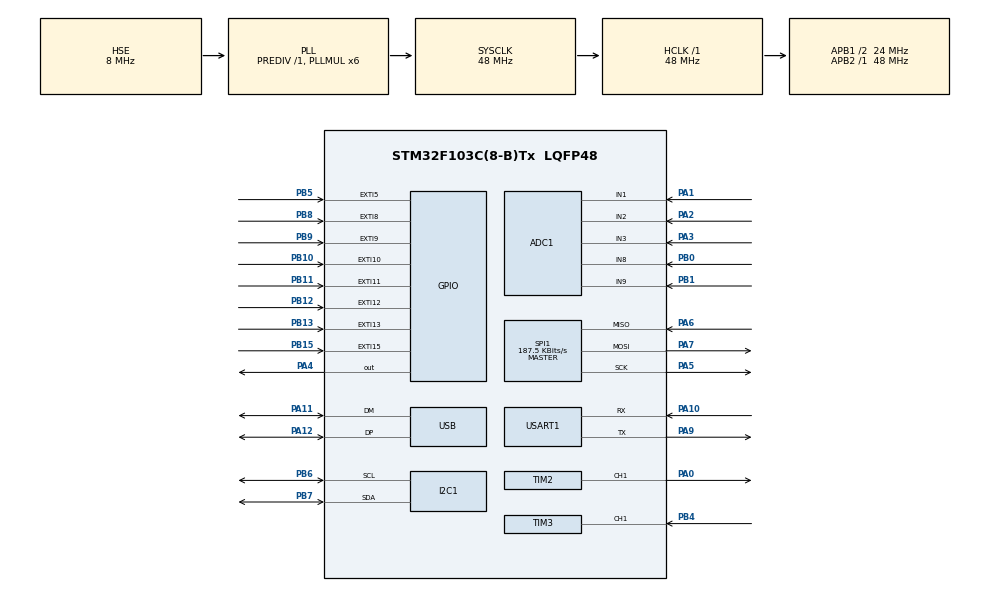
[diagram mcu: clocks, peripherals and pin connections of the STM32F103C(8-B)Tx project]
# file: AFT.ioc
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ADC1.Channel-10\#ChannelRegularConversion=ADC_CHANNEL_1
ADC1.Channel-11\#ChannelRegularConversion=ADC_CHANNEL_2
ADC1.Channel-12\#ChannelRegularConversion=ADC_CHANNEL_3
ADC1.Channel-13\#ChannelRegularConversion=ADC_CHANNEL_8
ADC1.Channel-14\#ChannelRegularConversion=ADC_CHANNEL_9
ADC1.ContinuousConvMode=ENABLE
ADC1.EnableRegularConversion=ENABLE
ADC1.NbrOfConversion=5
ADC1.NbrOfConversionFlag=1
ADC1.Rank-10\#ChannelRegularConversion=1
ADC1.Rank-11\#ChannelRegularConversion=2
ADC1.Rank-12\#ChannelRegularConversion=3
ADC1.Rank-13\#ChannelRegularConversion=4
ADC1.Rank-14\#ChannelRegularConversion=5
ADC1.SamplingTime-10\#ChannelRegularConversion=ADC_SAMPLETIME_239CYCLES_5
ADC1.SamplingTime-11\#ChannelRegularConversion=ADC_SAMPLETIME_239CYCLES_5
ADC1.SamplingTime-12\#ChannelRegularConversion=ADC_SAMPLETIME_239CYCLES_5
ADC1.SamplingTime-13\#ChannelRegularConversion=ADC_SAMPLETIME_239CYCLES_5
ADC1.SamplingTime-14\#ChannelRegularConversion=ADC_SAMPLETIME_239CYCLES_5
ADC1.master=1
Dma.ADC1.0.Direction=DMA_PERIPH_TO_MEMORY
Dma.ADC1.0.Instance=DMA1_Channel1
Dma.ADC1.0.MemDataAlignment=DMA_MDATAALIGN_HALFWORD
Dma.ADC1.0.MemInc=DMA_MINC_ENABLE
Dma.ADC1.0.Mode=DMA_CIRCULAR
Dma.ADC1.0.PeriphDataAlignment=DMA_PDATAALIGN_HALFWORD
Dma.ADC1.0.PeriphInc=DMA_PINC_DISABLE
Dma.ADC1.0.Priority=DMA_PRIORITY_MEDIUM
Dma.I2C1_RX.1.Direction=DMA_PERIPH_TO_MEMORY
Dma.I2C1_RX.1.Instance=DMA1_Channel7
Dma.I2C1_RX.1.MemDataAlignment=DMA_MDATAALIGN_BYTE
Dma.I2C1_RX.1.MemInc=DMA_MINC_ENABLE
Dma.I2C1_RX.1.Mode=DMA_NORMAL
Dma.I2C1_RX.1.PeriphDataAlignment=DMA_PDATAALIGN_BYTE
Dma.I2C1_RX.1.PeriphInc=DMA_PINC_DISABLE
Dma.I2C1_RX.1.Priority=DMA_PRIORITY_MEDIUM
Dma.I2C1_TX.2.Direction=DMA_MEMORY_TO_PERIPH
Dma.I2C1_TX.2.Instance=DMA1_Channel6
Dma.I2C1_TX.2.MemDataAlignment=DMA_MDATAALIGN_BYTE
Dma.I2C1_TX.2.MemInc=DMA_MINC_ENABLE
Dma.I2C1_TX.2.Mode=DMA_NORMAL
Dma.I2C1_TX.2.PeriphDataAlignment=DMA_PDATAALIGN_BYTE
Dma.I2C1_TX.2.PeriphInc=DMA_PINC_DISABLE
Dma.I2C1_TX.2.Priority=DMA_PRIORITY_MEDIUM
Dma.Request0=ADC1
Dma.Request1=I2C1_RX
Dma.Request2=I2C1_TX
Mcu.Family=STM32F1
Mcu.Name=STM32F103C(8-B)Tx
Mcu.Package=LQFP48
NVIC.ADC1_2_IRQn=true\:0\:0\:false\:false\:true\:true\:true\:true
NVIC.DMA1_Channel1_IRQn=true\:0\:0\:false\:false\:true\:false\:true\:true
NVIC.DMA1_Channel6_IRQn=true\:0\:0\:false\:false\:true\:false\:true\:true
NVIC.DMA1_Channel7_IRQn=true\:0\:0\:false\:false\:true\:false\:true\:true
NVIC.EXTI15_10_IRQn=true\:0\:0\:false\:false\:true\:true\:true\:true
NVIC.EXTI9_5_IRQn=true\:0\:0\:false\:false\:true\:true\:true\:true
NVIC.PriorityGroup=NVIC_PRIORITYGROUP_4
NVIC.SPI1_IRQn=true\:0\:0\:false\:false\:true\:true\:true\:true
NVIC.TIM1_UP_IRQn=true\:15\:0\:false\:false\:true\:false\:true\:true
NVIC.TIM2_IRQn=true\:0\:0\:false\:false\:true\:true\:true\:true
NVIC.TIM3_IRQn=true\:0\:0\:false\:false\:true\:true\:true\:true
NVIC.TimeBase=TIM1_UP_IRQn
NVIC.TimeBaseIP=TIM1
NVIC.USART1_IRQn=true\:0\:0\:false\:false\:true\:true\:true\:true
NVIC.USB_LP_CAN1_RX0_IRQn=true\:0\:0\:false\:false\:true\:false\:true\:true
PA0-WKUP.Signal=S_TIM2_CH1_ETR
PA1.Signal=ADCx_IN1
PA10.GPIO_Mode=GPIO_MODE_INPUT
PA10.GPIO_PuPd=GPIO_NOPULL
PA10.Mode=Asynchronous
PA10.Signal=USART1_RX
PA11.Mode=Device
PA11.Signal=USB_DM
PA12.Mode=Device
PA12.Signal=USB_DP
PA13.Mode=Serial_Wire
PA13.Signal=SYS_JTMS-SWDIO
PA14.Mode=Serial_Wire
PA14.Signal=SYS_JTCK-SWCLK
PA2.Signal=ADCx_IN2
PA3.Signal=ADCx_IN3
PA4.Signal=GPIO_Output
PA5.Mode=Full_Duplex_Master
PA5.Signal=SPI1_SCK
PA6.Mode=Full_Duplex_Master
PA6.Signal=SPI1_MISO
PA7.Mode=Full_Duplex_Master
PA7.Signal=SPI1_MOSI
PA9.Mode=Asynchronous
PA9.Signal=USART1_TX
PB0.Signal=ADCx_IN8
PB1.Signal=ADCx_IN9
PB10.GPIO_ModeDefaultEXTI=GPIO_MODE_IT_FALLING
PB10.Signal=GPXTI10
PB11.GPIO_ModeDefaultEXTI=GPIO_MODE_IT_FALLING
PB11.Signal=GPXTI11
PB12.GPIO_ModeDefaultEXTI=GPIO_MODE_IT_FALLING
PB12.Signal=GPXTI12
PB13.GPIO_ModeDefaultEXTI=GPIO_MODE_IT_FALLING
PB13.Signal=GPXTI13
PB15.GPIO_ModeDefaultEXTI=GPIO_MODE_IT_RISING
PB15.GPIO_PuPd=GPIO_PULLDOWN
PB15.Signal=GPXTI15
PB4.Signal=S_TIM3_CH1
PB5.GPIO_ModeDefaultEXTI=GPIO_MODE_IT_FALLING
PB5.Signal=GPXTI5
PB6.Mode=I2C
PB6.Signal=I2C1_SCL
PB7.Mode=I2C
PB7.Signal=I2C1_SDA
PB8.Signal=GPXTI8
PB9.GPIO_ModeDefaultEXTI=GPIO_MODE_IT_FALLING
PB9.Signal=GPXTI9
PD0-OSC_IN.Mode=HSE-External-Oscillator
PD0-OSC_IN.Signal=RCC_OSC_IN
PD1-OSC_OUT.Mode=HSE-External-Oscillator
PD1-OSC_OUT.Signal=RCC_OSC_OUT
ProjectManager.HeapSize=0x200
ProjectManager.StackSize=0x400
ProjectManager.TargetToolchain=CMake
RCC.ADCPresc=RCC_ADCPCLK2_DIV4
RCC.AHBFreq_Value=48000000
RCC.APB1CLKDivider=RCC_HCLK_DIV2
RCC.APB1Freq_Value=24000000
RCC.APB1TimFreq_Value=48000000
RCC.APB2Freq_Value=48000000
RCC.APB2TimFreq_Value=48000000
RCC.HCLKFreq_Value=48000000
RCC.HSE_Timout=1000
RCC.PLLMUL=RCC_PLL_MUL6
RCC.SYSCLKFreq_VALUE=48000000
RCC.SYSCLKSource=RCC_SYSCLKSOURCE_PLLCLK
RCC.USBFreq_Value=48000000
SH.ADCx_IN1.0=ADC1_IN1,IN1
SH.ADCx_IN2.0=ADC1_IN2,IN2
SH.ADCx_IN3.0=ADC1_IN3,IN3
SH.ADCx_IN8.0=ADC1_IN8,IN8
SH.ADCx_IN9.0=ADC1_IN9,IN9
SH.S_TIM2_CH1_ETR.0=TIM2_CH1,PWM Generation1 CH1
SH.S_TIM3_CH1.0=TIM3_CH1,Input_Capture1_from_TI1
SPI1.BaudRatePrescaler=SPI_BAUDRATEPRESCALER_256
SPI1.CRCCalculation=SPI_CRCCALCULATION_DISABLE
SPI1.CalculateBaudRate=187.5 KBits/s
SPI1.Direction=SPI_DIRECTION_2LINES
SPI1.Mode=SPI_MODE_MASTER
SPI1.VirtualType=VM_MASTER
TIM2.AutoReloadPreload=TIM_AUTORELOAD_PRELOAD_ENABLE
TIM2.Channel-PWM\ Generation1\ CH1=TIM_CHANNEL_1
TIM2.CounterMode=TIM_COUNTERMODE_UP
TIM2.OCFastMode_PWM-PWM\ Generation1\ CH1=TIM_OCFAST_ENABLE
TIM2.Period=1999
TIM2.Prescaler=47
TIM3.AutoReloadPreload=TIM_AUTORELOAD_PRELOAD_DISABLE
TIM3.Channel-Input_Capture1_from_TI1=TIM_CHANNEL_1
TIM3.ClockDivision=TIM_CLOCKDIVISION_DIV1
TIM3.ICFilter_CH1=15
TIM3.ICPolarity_CH1=TIM_INPUTCHANNELPOLARITY_RISING
TIM3.ICPrescaler-Input_Capture1_from_TI1=TIM_ICPSC_DIV1
TIM3.Period=65000
TIM3.Prescaler=479
TIM4.AutoReloadPreload=TIM_AUTORELOAD_PRELOAD_ENABLE
TIM4.Prescaler=47
USART1.VirtualMode=VM_ASYNC
USB.low_power_enable=DISABLE
USB_DEVICE.CLASS_NAME_FS=CDC
USB_DEVICE.USBD_DEBUG_LEVEL=3
USB_DEVICE.VirtualMode=Cdc
USB_DEVICE.VirtualModeFS=Cdc_FS
VP_FATFS_VS_Generic.Mode=User_defined
VP_RTC_VS_RTC_Activate.Mode=RTC_Enabled
VP_SYS_VS_tim1.Mode=TIM1
VP_TIM2_VS_ClockSourceINT.Mode=Internal
VP_TIM3_VS_ClockSourceITR.Mode=TriggerSource_ITR0
VP_TIM4_VS_ClockSourceINT.Mode=Internal
VP_USB_DEVICE_VS_USB_DEVICE_CDC_FS.Mode=CDC_FS
board=custom

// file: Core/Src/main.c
/* USER CODE BEGIN Header */
/**
  ******************************************************************************
  * @file           : main.c
  * @brief          : Main program body
  ******************************************************************************
  * @attention
  *
  * Copyright (c) 2025 STMicroelectronics.
  * All rights reserved.
  *
  * This software is licensed under terms that can be found in the LICENSE file
  * in the root directory of this software component.
  * If no LICENSE file comes with this software, it is provided AS-IS.
  *
  ******************************************************************************
  */
/* USER CODE END Header */
#include "main.h"
#include "adc.h"
#include "dma.h"
#include "fatfs.h"
#include "i2c.h"
#include "rtc.h"
#include "spi.h"
#include "tim.h"
#include "usart.h"
#include "usb_device.h"
#include "gpio.h"

/* USER CODE BEGIN Includes */
#include <stdbool.h>
#include "user.h"
#include <I2C_2.h>
#include <math.h>
#include <string.h>
#include <usbd_cdc_if.h>
#include "Data_Packets.h"
#include "bme68x.h"
#include "bme68x_defs.h"
//#include <sdcard.h>
//#include "ff.h"
//#include <user_diskio.h>

//#include <ADC_Scan.h>
/* USER CODE END Includes */

/* USER CODE BEGIN PD */
  #define DEADBAND              2
  #define ADC_MAX               4095
  #define MAX_THRUST_LOSS       200
  #define CHANNEL_COUNT         5
  #define OVERSAMPLE_COUNT      16
  #define DMA_BUFFER_SIZE    (CHANNEL_COUNT * OVERSAMPLE_COUNT)
  #define MODE_UI               1
  #define MODE_INTERNAL         2
  #define UI_NONE               0
  #define UI_TEST_MODE          1
  #define UI_CALIBRATE          2
  #define UI_MANUAL_MODE        3
  #define UI_ONBOARD_MODE       4
  #define UI_IDLE_MODE          5
  #define LCD_DISPLAY_VALUES    1
  #define LCD_CHANGE_S_NUM      2
  #define LCD_CHANGE_C_STEADY   3
  #define LCD_CHANGE_C_BURST    4
  #define LCD_CHANGE_LC_THRUST  5
  #define LCD_CHANGE_LC_TORQUE  6
  #define LCD_CONFIRM_SCREEN    7
  #define LCD_SAVE_TO_SD_CARD   8
  #define MAX_NUMBER_OF_CELLS   13
  #define THRUST          (GPIOA), (GPIO_PIN_1)
  #define TORQUE          (GPIOA), (GPIO_PIN_2)
  #define V_BAT           (GPIOA), (GPIO_PIN_3)
  #define CSS             (GPIOA), (GPIO_PIN_4)
  #define SCK             (GPIOA), (GPIO_PIN_5)
  #define MISO            (GPIOA), (GPIO_PIN_6)
  #define MOSI            (GPIOA), (GPIO_PIN_7)
  #define USART_CLK       (GPIOA), (GPIO_PIN_8)
  #define USART_TX        (GPIOA), (GPIO_PIN_9)
  #define USART_RX        (GPIOA), (GPIO_PIN_10)
  #define DF_N            (GPIOA), (GPIO_PIN_11)
  #define DF_P            (GPIOA), (GPIO_PIN_12)
  #define JTMS            (GPIOA), (GPIO_PIN_13)
  #define JTCK            (GPIOA), (GPIO_PIN_14)
  #define JTDI            (GPIOA), (GPIO_PIN_15)
  #define CURRENT_SENSOR  (GPIOB), (GPIO_PIN_0)
  #define POTENTIOMETER   (GPIOB), (GPIO_PIN_1)
  #define BOOT            (GPIOB), (GPIO_PIN_2)
  #define JTDO            (GPIOB), (GPIO_PIN_3)
  #define NJTRST          (GPIOB), (GPIO_PIN_4)
  #define BUTTON3         GPIO_PIN_5
  #define SDA             (GPIOB), (GPIO_PIN_6)
  #define SCL             (GPIOB), (GPIO_PIN_7)
  #define BUTTON5         GPIO_PIN_8
  #define BUTTON6         GPIO_PIN_9
  #define BUTTON7         GPIO_PIN_10
  #define BUTTON4         GPIO_PIN_11
  #define BUTTON1         GPIO_PIN_12
  #define BUTTON2         GPIO_PIN_13
  #define IR_SENS         GPIO_PIN_15

/* USER CODE END PD */

/* USER CODE BEGIN PV */
  Information_Package_STR Information_Package;
  Telemetry_Package_STR Telemetry_Package;
  uint16_t ADC_Values[5] = {0,0,0,0,0};
  uint32_t Cal_Int[5]   = {0,0,0,0,0};

  float Voltage=0;
  float Current_S=0;
  float Thrust=0;
  float Torque=0;
  float Diff_V1;

  volatile bool BUTTON_1 = false;
  bool Plus=false;
  bool Minus=false;
  bool OK=false;
  bool Abort=false;
  volatile bool LCD_Clear_Flag=false;
  volatile bool ARM=false;
  volatile bool Com_Method;

  int8_t  SD_ERROR_CODE;
  uint8_t Last_Throttle_Value;
  uint16_t filtered_adc[5];
  uint16_t last_value[5] = {0,0,0,0,0};
  uint16_t filtered_value[5]= {0,0,0,0,0};
  uint16_t ADC_Offset_Thrust;
  uint16_t ADC_Offset_Torque;
  uint16_t ADC_Offset_Current=2035;
  uint16_t ADC_Offset_Voltage;

  uint64_t period_counts = 0;
  uint32_t Capture_Buffer[10];
  uint8_t capture_done = 0;

void HAL_TIM_IC_CaptureCallback(TIM_HandleTypeDef *htim);

  volatile uint8_t  Onboard_States=0;
  volatile uint8_t  UI_States = 0;
  volatile uint8_t  Current_State=0;
  volatile uint32_t pulse_count = 0;
  double rpm = 0;
  //volatile bool dataReceivedFlag = false;
/* USER CODE END PV */

void SystemClock_Config(void);
/* USER CODE BEGIN PFP */
//void HAL_UART_RxCpltCallback(USART_HandleTypeDef *huart);

  float Convert_ADC_Thrust();
  float Convert_ADC_Battery();
  float Convert_ADC_Current();
  double Calculate_RPM();

  void Convert_ADC_Torque();
  void Internal_Mode();
  void UI_Mode();
  void ADC_DeadBand_Filter();
  void Display_LCD_Values();
  void Safety_Check();
  void Define_States_UI();
  void Change_S_Num();
  void Change_C_Steady();
  void Change_C_Burst();
  void Change_LC_Thrust();
  void Change_LC_Torque();
  void Save_Log();
  void split_double(double value, int16_t *int_part, uint16_t *frac_part, int precision);
  void Test_Mode();
  void Manual_Mode();
  void Calibrate();
  void Transmit_Data();
  void Gather_Information();
  void Idle_State();
  void Initialize_BME680();
  int8_t user_i2c_read(uint8_t dev_id, uint8_t reg_addr, uint8_t *data, uint16_t len);
  int8_t user_i2c_write(uint8_t dev_id, const uint8_t *data, uint16_t len);
  void user_delay_us(uint32_t period, void *intf_ptr);
/* USER CODE END PFP */

int main(void)
{

  /* MCU Configuration--------------------------------------------------------*/

  /* Reset of all peripherals, Initializes the Flash interface and the Systick. */
   HAL_Init();

  /* Configure the system clock */
  SystemClock_Config();

  /* Initialize all configured peripherals */
  MX_GPIO_Init();
  MX_DMA_Init();
  MX_I2C1_Init();
  MX_RTC_Init();
  MX_SPI1_Init();
  MX_USART1_UART_Init();
  MX_TIM2_Init();
  MX_USB_DEVICE_Init();
  MX_ADC1_Init();
  MX_FATFS_Init();
  MX_TIM3_Init();
  MX_TIM4_Init();
  /* USER CODE BEGIN 2 */
  HAL_ADCEx_Calibration_Start(&hadc1);
  HAL_ADC_Start_DMA(&hadc1,(uint32_t *)&ADC_Values,5);
  HAL_TIM_PWM_Start(&htim2, TIM_CHANNEL_1);
  HAL_NVIC_SetPriority(EXTI15_10_IRQn, 2, 0);
  HAL_NVIC_EnableIRQ(EXTI15_10_IRQn);
  ADC_DeadBand_Filter();
  Calibrate();
  LCD_Init(&hi2c1);
  LCD_Clear();
  HAL_UART_Receive_IT(&huart1, (uint8_t *)&Information_Package, sizeof(Information_Package_STR));
  Current_State=1;
  HAL_Delay(50);
  ADC_DeadBand_Filter();
  HAL_TIM_IC_Start_IT(&htim3, TIM_CHANNEL_1);
  __HAL_TIM_SetCompare(&htim2, TIM_CHANNEL_1, 1000);
  Initialize_BME680();
  /* USER CODE END 2 */

  /* Infinite loop */
  /* USER CODE BEGIN WHILE */
  while(1)
  {

    //rpm = Calculate_RPM();
    switch (Current_State)
    {
      case MODE_INTERNAL:
        Internal_Mode();
        break;
      case MODE_UI:
        UI_Mode();
        break;
      default:
        Error_Handler();
        break;
    }
    /* USER CODE END WHILE */

  }
}

void SystemClock_Config(void)
{
  RCC_OscInitTypeDef RCC_OscInitStruct = {0};
  RCC_ClkInitTypeDef RCC_ClkInitStruct = {0};
  RCC_PeriphCLKInitTypeDef PeriphClkInit = {0};

  /** Initializes the RCC Oscillators according to the specified parameters
  * in the RCC_OscInitTypeDef structure.
  */
  RCC_OscInitStruct.OscillatorType = RCC_OSCILLATORTYPE_LSI|RCC_OSCILLATORTYPE_HSE;
  RCC_OscInitStruct.HSEState = RCC_HSE_ON;
  RCC_OscInitStruct.HSEPredivValue = RCC_HSE_PREDIV_DIV1;
  RCC_OscInitStruct.HSIState = RCC_HSI_ON;
  RCC_OscInitStruct.LSIState = RCC_LSI_ON;
  RCC_OscInitStruct.PLL.PLLState = RCC_PLL_ON;
  RCC_OscInitStruct.PLL.PLLSource = RCC_PLLSOURCE_HSE;
  RCC_OscInitStruct.PLL.PLLMUL = RCC_PLL_MUL6;
  if (HAL_RCC_OscConfig(&RCC_OscInitStruct) != HAL_OK)
  {
    Error_Handler();
  }

  /** Initializes the CPU, AHB and APB buses clocks
  */
  RCC_ClkInitStruct.ClockType = RCC_CLOCKTYPE_HCLK|RCC_CLOCKTYPE_SYSCLK
                              |RCC_CLOCKTYPE_PCLK1|RCC_CLOCKTYPE_PCLK2;
  RCC_ClkInitStruct.SYSCLKSource = RCC_SYSCLKSOURCE_PLLCLK;
  RCC_ClkInitStruct.AHBCLKDivider = RCC_SYSCLK_DIV1;
  RCC_ClkInitStruct.APB1CLKDivider = RCC_HCLK_DIV2;
  RCC_ClkInitStruct.APB2CLKDivider = RCC_HCLK_DIV1;

  if (HAL_RCC_ClockConfig(&RCC_ClkInitStruct, FLASH_LATENCY_1) != HAL_OK)
  {
    Error_Handler();
  }
  PeriphClkInit.PeriphClockSelection = RCC_PERIPHCLK_RTC|RCC_PERIPHCLK_ADC
                              |RCC_PERIPHCLK_USB;
  PeriphClkInit.RTCClockSelection = RCC_RTCCLKSOURCE_LSI;
  PeriphClkInit.AdcClockSelection = RCC_ADCPCLK2_DIV4;
  PeriphClkInit.UsbClockSelection = RCC_USBCLKSOURCE_PLL;
  if (HAL_RCCEx_PeriphCLKConfig(&PeriphClkInit) != HAL_OK)
  {
    Error_Handler();
  }
}

/* USER CODE BEGIN 4 */
    /**
     * @brief This function will be enabled when the `Information_Package.Arm_Check` and the `Information_Package.Start_Test` flags are both true.
     *  Uses conversion functions to convert `values_adc` into the desired characteristics
     * @note This resets the `Information_Package.Start_Test` flag when it finishes
    */
    void Test_Mode()
    {
      if(Com_Method==false)
      { for(int i=0;i<=1000;i++)
        {
        if(Abort==true)
        {
          __HAL_TIM_SET_COMPARE(&htim2, TIM_CHANNEL_1, 1000);
          Abort=false;
          Information_Package.Start_Test =0;
          Current_State=0;
          break;
        }
        ADC_DeadBand_Filter();
        __HAL_TIM_SET_COMPARE(&htim2, TIM_CHANNEL_1, i+999);
        Voltage = Convert_ADC_Battery();
        split_double(Voltage,&Telemetry_Package.Voltage_I,&Telemetry_Package.Voltage_F,2);
        Current_S = Convert_ADC_Current();
        split_double(Current_S,&Telemetry_Package.Current_I,&Telemetry_Package.Current_F,2);
        Thrust    = Convert_ADC_Thrust();
        split_double(Thrust, &Telemetry_Package.Thrust_I,&Telemetry_Package.Thrust_F,3);
        Convert_ADC_Torque();
        split_double(Torque, &Telemetry_Package.Torque_I,&Telemetry_Package.Torque_F,3);
        rpm= Calculate_RPM();
        split_double(rpm, &Telemetry_Package.RPM_I, &Telemetry_Package.RPM_F, 2);
        if(i%10==0)Telemetry_Package.Throttle=i/10;
        Telemetry_Package.PWM_Time = i+1000;
        Safety_Check();
        HAL_Delay(10);
        Transmit_Data();
        }
      }
      if(Com_Method==true)
      {
      for(int i=0;i<=1000;i+=10)
      {
        if(Abort==true)
        {
          Abort=false;
          __HAL_TIM_SET_COMPARE(&htim2, TIM_CHANNEL_1, 1000);
          Information_Package.Start_Test =0;
          Current_State=0;
          break;
        }
        ADC_DeadBand_Filter();
        __HAL_TIM_SET_COMPARE(&htim2, TIM_CHANNEL_1, i+999);
        Voltage = Convert_ADC_Battery();
        split_double(Voltage,&Telemetry_Package.Voltage_I,&Telemetry_Package.Voltage_F,2);
        Current_S = Convert_ADC_Current();
        split_double(Current_S,&Telemetry_Package.Current_I,&Telemetry_Package.Current_F,2);
        Thrust    = Convert_ADC_Thrust();
        split_double(Thrust, &Telemetry_Package.Thrust_I,&Telemetry_Package.Thrust_F,3);
        Convert_ADC_Torque();
        split_double(Torque, &Telemetry_Package.Torque_I,&Telemetry_Package.Torque_F,3);
        if(i%10==0)Telemetry_Package.Throttle=i/10;
        Telemetry_Package.PWM_Time = i+1000;
        Safety_Check();
        HAL_Delay(100);
        Transmit_Data();
      }
    }
        Telemetry_Package.Error_Code     = 0;
        Information_Package.Start_Test = 0;
        Current_State = 1;
        UI_States = 0;
        __HAL_TIM_SET_COMPARE(&htim2, TIM_CHANNEL_1, 0);
}
void Manual_Mode()
{
  __HAL_TIM_SET_COMPARE(&htim2, TIM_CHANNEL_1, Information_Package.Throttle*10);
  if(!(Information_Package.Throttle==Last_Throttle_Value))
  {
      Telemetry_Package.Throttle=Information_Package.Throttle;
        ADC_DeadBand_Filter();
        Voltage = Convert_ADC_Battery();
        split_double(Voltage,&Telemetry_Package.Voltage_I,&Telemetry_Package.Voltage_F,2);
        Current_S = Convert_ADC_Current();
        split_double(Current_S,&Telemetry_Package.Current_I,&Telemetry_Package.Current_F,2);
        Thrust    = Convert_ADC_Thrust();
        split_double(Thrust, &Telemetry_Package.Thrust_I,&Telemetry_Package.Thrust_F,3);
        Convert_ADC_Torque();
        split_double(Torque, &Telemetry_Package.Torque_I,&Telemetry_Package.Torque_F,3);
        rpm= Calculate_RPM();
        split_double(rpm, &Telemetry_Package.RPM_I, &Telemetry_Package.RPM_F, 2);
      Transmit_Data();
      Last_Throttle_Value=Information_Package.Throttle;
      HAL_Delay(50);
  }
}

  /**
   * @brief This function splits a `Float` into its `Integer` and `Fractional` parts to be sent as `uint16_t` values inside the `Telemetry_Package_STR`
   *
   * @param value
   * @param int_part
   * @param frac_part
   * @param precision
   */
  void split_double(double value, int16_t *int_part, uint16_t *frac_part, int precision)
  {
      *int_part = abs((int)value);
      double frac = value - *int_part;
      *frac_part = abs((int)(roundf(frac * powf(10, precision))));
  }

  /**
   * @brief Math for measuring the voltage via the onboard divider, measured resistances with multimeter 99000, 6210 Ohm respectively
   *
   * @return float `Voltage`
   */
  float Convert_ADC_Battery()
  {
    float Voltage;
    Voltage=(((float)filtered_value[2] / ADC_MAX) * 3.3)*16.9491;
    return Voltage;
  }
  /**
   * @brief  Math for converting the current sensor voltage output into current
   *
   * @return float
   */
  float Convert_ADC_Current()
  {
    float Current;
    float Voltage;
    Voltage= (filtered_value[3])-ADC_Offset_Current;
    Current = ((Voltage)/ADC_MAX)*200;
    if(Current<0)
    return 0;
    else
    return Current;
  }
  /**
   * @brief Math for converting the load cell voltage output into thrust in KG
   *
   * @return float
   */
  float Convert_ADC_Thrust()
  {
    float Thrust;
    Thrust   = 0.335*((float)filtered_value[1]-(float)ADC_Offset_Thrust);
    //Thrust = 0.933*((float)(filtered_value[1]-700)/ADC_MAX*3.3);
    return Thrust/1000;
  }
  /**
   * @brief Deadband filter for the ADCs, slightly aleviates their swing
   *
   */
  void ADC_DeadBand_Filter()
  {
      for (int i = 0; i < 5; i++)
      {
          uint16_t new_value = ADC_Values[i];

          if (abs((int)new_value - (int)last_value[i]) > DEADBAND)
          {
              filtered_value[i] = new_value;
              last_value[i] = new_value;
          }
          // else: keep previous filtered_value[i]
      }
  }
    /**
     * @brief Math for converting the lswitch (Com_Method)oad cell voltage output into Nm
     *
     * @return float
     */
    void Convert_ADC_Torque()
    {
    Torque = 0.8653846*((float)filtered_value[0]-(float)ADC_Offset_Torque);
    //Torque = 0.8653846f*(float)filtered_adc[0] - 1471.1538f;
    }
  /**
   * @brief Zeros out the ADC values and therfore the outputs, called everytime a test cycle is started
   *
   * @return * void
   */
  void Calibrate()
  {
      __HAL_TIM_SET_COMPARE(&htim2, TIM_CHANNEL_1, 2000);
      HAL_Delay(5000);
      __HAL_TIM_SET_COMPARE(&htim2, TIM_CHANNEL_1, 1000);
      ADC_DeadBand_Filter();
      ADC_Offset_Thrust  = ADC_Values[1];
      ADC_Offset_Torque  = ADC_Values[0];
      memset(&Telemetry_Package, 0, sizeof(Telemetry_Package));
      Information_Package.Calibration=0;
      Current_State=1;
      UI_States=0;
      HAL_Delay(1000);
      Transmit_Data();
  }
  /**
   * @brief Checks to see if the device operates under safe conditions every test cycle iteration
   * @note Limits the device to ESC maximum ratings,Minimum battery voltage as inputed from either the UI or onboard HDI
   * @note A battery is considered spent at a cell voltage of `3V`
   * @note If the device is not operating under safe conditions, it sets the `Telemetry_Package.Error_Code` to `1` or `2` and sets the `Abort` flag to true
   */
  void Safety_Check()
  {
        if(Voltage <= Information_Package.S_Num*3)
        {
          Telemetry_Package.Error_Code=1;
          Abort=true;
        }
        if(Current_S > Information_Package.Current_Limit_Steady)
        {
          Telemetry_Package.Error_Code=2;
          Abort=true;
        }
        if(Information_Package.Panic_Abort)
        {
          Abort=true;
        }
  }
  /**
   * @brief Defines the state machine when operating in UI mode
   *
  */
  void Define_States_UI()
  {
      if(Information_Package.Arm_Check==1 && Information_Package.Start_Test==1)   UI_States = UI_TEST_MODE;
      if(Information_Package.Calibration==1 && Information_Package.Arm_Check==1 ) UI_States = UI_CALIBRATE;
      if(Information_Package.Arm_Check==1 && Information_Package.Manual_Check==1) UI_States = UI_MANUAL_MODE;
  }

  /**
   * @brief Calback function for the buttons, executes action based on pressed button
   *
   * @param GPIO_Pin
   */
  void HAL_GPIO_EXTI_Callback(uint16_t GPIO_Pin)
  {
        if(GPIO_Pin == BUTTON1)
    {
        if(Onboard_States<9)
        Onboard_States++;
        LCD_Clear_Flag=true;
    }
        if(GPIO_Pin == BUTTON2)
    {
       if(Onboard_States>0)
      {
        Onboard_States--;
        LCD_Clear_Flag=true;
      }
    }
        if(GPIO_Pin == BUTTON3)
    {
        Plus=true;
    }
        if(GPIO_Pin == BUTTON4)
    {
        OK=true;
    }
        if(GPIO_Pin == BUTTON5)
    {
        Minus=true;
    }
        if(GPIO_Pin == BUTTON6)
    {

    }
        if(GPIO_Pin == BUTTON7)
    {
        ARM=!ARM;
        LCD_Clear_Flag=true;
    }
  }

  /**
   *  @brief In HDI mode, state `LCD_DISPLAY_VALUES` Displays the 4 main values outputed from `TEST_MODE()`
   *  @note `Voltage`
   *  @note `Current`
   *  @note `Thrust`
   *  @note `Torque`
   */
  void Display_LCD_Values()
  {
    if(LCD_Clear_Flag)
    { LCD_Clear();
      LCD_Clear_Flag=false;
    }
    Voltage = Convert_ADC_Battery();
    Current_S = Convert_ADC_Current();
    Thrust = Convert_ADC_Thrust();
    Convert_ADC_Torque();
    LCD_SetCursor(0,0);
    LCD_SendString("Voltage");
    split_double(Voltage,&Telemetry_Package.Voltage_I,&Telemetry_Package.Voltage_F,2);
    LCD_SetCursor(8,0);
    LCD_SendFloat(Telemetry_Package.Voltage_I,Telemetry_Package.Voltage_F);
    Define_States_UI();
    ADC_DeadBand_Filter();
    LCD_SetCursor(0,1);
    LCD_SendString("Current");
    split_double(Current_S,&Telemetry_Package.Current_I,&Telemetry_Package.Current_F,2);
    LCD_SetCursor(8,1);
    LCD_SendFloat(Telemetry_Package.Current_I,Telemetry_Package.Current_F);
    LCD_SetCursor(0,2);
    LCD_SendString("Thrust");
    LCD_SetCursor(7,2);
    split_double(Thrust,&Telemetry_Package.Thrust_I,&Telemetry_Package.Thrust_F,3);
    LCD_SendFloat(Telemetry_Package.Thrust_I,Telemetry_Package.Thrust_F);
    LCD_SetCursor(0,3);
    LCD_SendString("Torque");
    LCD_SetCursor(7,3);
    split_double(Torque,&Telemetry_Package.Torque_I,&Telemetry_Package.Torque_F,3);
    LCD_SendFloat(Telemetry_Package.Torque_I,Telemetry_Package.Torque_F);

  }

  /**
   * @brief State machine for the onboard HDI
   *
   *
   */
  void Internal_Mode()
  {

        if(LCD_Clear_Flag)
    {
      LCD_Clear();
      LCD_Clear_Flag=false;
        if(ARM)
      {
        LCD_SetCursor(15,3);
        LCD_SendString("ARMED");
      }
    }

    switch (Onboard_States)
    {
    case LCD_DISPLAY_VALUES:
      Display_LCD_Values();
      break;
    case LCD_CHANGE_S_NUM:
      Change_S_Num();
      break;
    case LCD_CHANGE_C_STEADY:
      Change_C_Steady();
      break;
    case LCD_CHANGE_C_BURST:
      Change_C_Burst();
      break;
    case LCD_CHANGE_LC_THRUST:
      Change_LC_Thrust();
      break;
    case LCD_CHANGE_LC_TORQUE:
      Change_LC_Torque();
      break;
    default:

      break;
    }
  }
  void UI_Mode()
  {
    Define_States_UI();
    switch (UI_States)
    {
    case UI_TEST_MODE:
      Test_Mode();
      break;
    case UI_CALIBRATE:
      Calibrate();
      break;
    case UI_MANUAL_MODE:
      Manual_Mode();
      break;
    case UI_IDLE_MODE:

    default:
      break;
    }
  }

  /**
   * @brief From HDI, Inputs the ammount of cells of a battery for the `Safety_Check()` function
   *
   *
   */
  void Change_S_Num()
  {

        if(LCD_Clear_Flag)
    { LCD_Clear();
      LCD_Clear_Flag=false;
    }
    LCD_SetCursor(0,0);
    LCD_SendString("Number of cells");
    LCD_SetCursor(0,1);
    LCD_SendInt(Information_Package.S_Num);
    if(Plus==true && Information_Package.S_Num<MAX_NUMBER_OF_CELLS)
    {
      Information_Package.S_Num++;
      Plus=false;
    }
    if(Minus==true && Information_Package.S_Num>0)
    {
      Minus=false;
      Information_Package.S_Num--;
    }
  }
  void Change_C_Steady()
  {
        if(LCD_Clear_Flag)
    { LCD_Clear();
      LCD_Clear_Flag=false;
    }
    LCD_SetCursor(0,0);
    LCD_SendString("Current limit steady");
    LCD_SetCursor(0,1);
    LCD_SendInt(Information_Package.Current_Limit_Steady);
    if(Plus==true && Information_Package.Current_Limit_Steady<100)
    {
      Information_Package.Current_Limit_Steady++;
      Plus=false;
    }
    if(Minus==true && Information_Package.Current_Limit_Steady>0)
    {
      Minus=false;
      Information_Package.Current_Limit_Steady--;
    }
  }
  void Change_C_Burst()
  {
        if(LCD_Clear_Flag)
    { LCD_Clear();
      LCD_Clear_Flag=false;
    }
    LCD_SetCursor(0,0);
    LCD_SendString("Current limit burst");
    LCD_SetCursor(0,1);
    LCD_SendInt(Information_Package.Blade_Count);
    if(Plus==true && Information_Package.Blade_Count<6)
    {
      Information_Package.Blade_Count++;
      Plus=false;
    }
    if(Minus==true && Information_Package.Blade_Count>1)
    {
      Minus=false;
      Information_Package.Blade_Count--;
    }
  }
  void Change_LC_Thrust()
  {
        if(LCD_Clear_Flag)
    { LCD_Clear();
      LCD_Clear_Flag=false;
    }
    LCD_SetCursor(0,0);
    LCD_SendString("Load cell thrust");
    LCD_SetCursor(0,1);
    LCD_SendInt(Information_Package.Load_Cell_Thrust);
    if(Plus==true && Information_Package.Load_Cell_Thrust<20)
    {
      Information_Package.Load_Cell_Thrust++;
      Plus=false;
    }
    if(Minus==true && Information_Package.Load_Cell_Thrust>0)
    {
      Minus=false;
      Information_Package.Load_Cell_Thrust--;
    }
  }
    void Change_LC_Torque()
  {
        if(LCD_Clear_Flag)
    { LCD_Clear();
      LCD_Clear_Flag=false;
    }
    LCD_SetCursor(0,0);
    LCD_SendString("Load cell torque");
    LCD_SetCursor(0,1);
    LCD_SendInt(Information_Package.Load_Cell_Torque);
    if(Plus==true && Information_Package.Load_Cell_Torque<20)
    {
      Information_Package.Load_Cell_Torque++;
      Plus=false;
    }
    if(Minus==true && Information_Package.Load_Cell_Torque>0)
    {
      Minus=false;
      Information_Package.Load_Cell_Torque--;
    }
  }
  void Save_Log()
  {

  }
  void Transmit_Data()
  {
    switch(Com_Method)
    {
    case false:
        CDC_Transmit_FS((uint8_t *)&Telemetry_Package,sizeof(Telemetry_Package_STR));
    break;
    case true:
    HAL_UART_Transmit(&huart1,(uint8_t *)&Telemetry_Package,sizeof(Telemetry_Package_STR),HAL_MAX_DELAY);
    break;
    default:
      break;
    }

  }

  void HAL_UART_RxCpltCallback(UART_HandleTypeDef *huart)
{
  if(huart==&huart1)
  {
      Com_Method=true;
      HAL_UART_Receive_IT(&huart1,(uint8_t*)&Information_Package, sizeof(Information_Package_STR));
  }
}
void HAL_TIM_IC_CaptureCallback(TIM_HandleTypeDef *htim)
{
  if(htim == &htim3)  // Check if the interrupt is from TIM3
  {
    if(htim->Channel == HAL_TIM_ACTIVE_CHANNEL_1)
    {
      if(capture_done < 10)
      {

         Capture_Buffer[capture_done] = HAL_TIM_ReadCapturedValue(htim, TIM_CHANNEL_1);
         capture_done++;

      }
      else
      {
                // Reset the capture buffer if it is full
                rpm = Calculate_RPM();
                capture_done = 0;
                period_counts = 0;
      }
    }
  }
}

void Idle_State()
{
  __HAL_TIM_SET_COMPARE(&htim2, TIM_CHANNEL_1, 0);
}
static struct bme68x_dev gas_sensor;
void Initialize_BME680()
{

    gas_sensor.intf = BME68X_I2C_INTF;
    gas_sensor.read = user_i2c_read;
    gas_sensor.write = user_i2c_write;
    gas_sensor.delay_us = user_delay_us;
    gas_sensor.intf_ptr = &hi2c1;  // Pointer to your I2C handle
    gas_sensor.amb_temp = 25;      // Ambient temperature (°C), optional
    int8_t result = bme68x_init(&gas_sensor);
    if (result != BME68X_OK) {
        // Handle error
    }

}

double Calculate_RPM()
{

    for(int i = 0; i < capture_done - 1; i++)
    {
        if (Capture_Buffer[i + 1] >= Capture_Buffer[i])
        {
            period_counts += Capture_Buffer[i + 1] - Capture_Buffer[i];
        }
        else
        {
            period_counts += (htim3.Instance->ARR - Capture_Buffer[i]) + Capture_Buffer[i + 1] + 1;
        }
    }
    return 600000.0f / (period_counts / 9 * 3); // 9 because we have 10 captures, and we want the average period

}

int8_t user_i2c_read(uint8_t dev_id, uint8_t reg_addr, uint8_t *data, uint16_t len)
{
    HAL_StatusTypeDef status;
    status = HAL_I2C_Mem_Read((I2C_HandleTypeDef *)dev_id, BME68X_I2C_ADDR_HIGH, reg_addr, I2C_MEMADD_SIZE_8BIT, data, len, HAL_MAX_DELAY);
    return (status == HAL_OK) ? BME68X_OK : BME68X_E_COM_FAIL;
}

int8_t user_i2c_write(uint8_t dev_id, const uint8_t *data, uint16_t len)
{
    HAL_StatusTypeDef status;
    status = HAL_I2C_Master_Transmit((I2C_HandleTypeDef *)dev_id, BME68X_I2C_ADDR_HIGH, (uint8_t *)data, len, HAL_MAX_DELAY);
    return (status == HAL_OK) ? BME68X_OK : BME68X_E_COM_FAIL;
}

void user_delay_us(uint32_t period, void *intf_ptr)
{
    uint32_t start = __HAL_TIM_GET_COUNTER(&htim4);  // use a microsecond timer
    while ((__HAL_TIM_GET_COUNTER(&htim4) - start) < period);
}

/* USER CODE END 4 */

void HAL_TIM_PeriodElapsedCallback(TIM_HandleTypeDef *htim)
{
  if (htim->Instance == TIM1)
  {
    HAL_IncTick();
  }
}

void Error_Handler(void)
{
  /* USER CODE BEGIN Error_Handler_Debug */
  /* User can add his own implementation to report the HAL error return state */
  Telemetry_Package.Error_Code=3;
  CDC_Transmit_FS((uint8_t *)&Telemetry_Package,sizeof(Telemetry_Package_STR));
  __disable_irq();
  while (1)
  {
  }
  /* USER CODE END Error_Handler_Debug */
}
